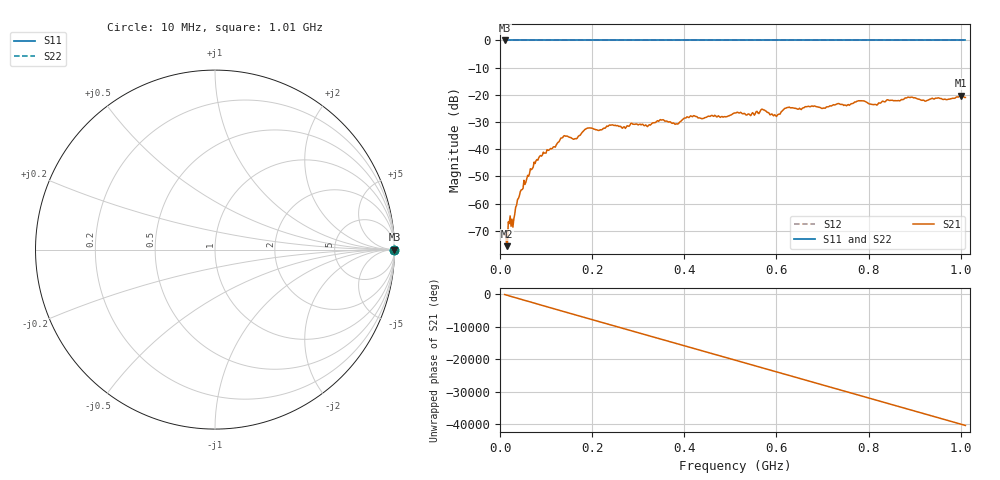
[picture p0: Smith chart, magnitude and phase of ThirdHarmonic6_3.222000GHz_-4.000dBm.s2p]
! 8/17/2025 9:50:20 AM
! C:\ANRITSUVNA\TEMP\TEMP.S2P
! CHANNEL.1
! TR.MEASUREMENT
! RAW.DATA
! RF.CORRECTION.OFF
! AVERAGING.OFF
! IF.BANDWIDTH: 5KHZ
! SWEEPTYPE:  FREQ.SWEEP(Linear)
! Reference Plane Port Info
! PORT:  PORT1  PORT2
! DISTANCE:  0  m  0  m
! TIME:  0  s  0  s
! PHASE.OFFSET:  0  deg.  0  deg.
! LOSS:  0  dB  0  dB
! REF.LOSS:  0  dB  0  dB
! REF.FREQ:  0  Hz  0  Hz
! Power Info
! POWER:  -20  dBm  -20  dBm
! EFF.POWER:  -20  dBm  -20  dBm
! SOURCE.ATTEN:  0  dB  0  dB
! TEST.ATTEN:  0  dB  0  dB
# GHZ S RI R 50.0
! FREQ.GHZ  S11RE  S11IM  S21RE  S21IM  S12RE  S12IM  S22RE  S22IM
!; PortSelection: Port_12
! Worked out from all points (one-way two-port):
!   501 points, 10 MHz to 1.01 GHz, reference 50 ohm
!   highest |S21| = -20.25 dB at 1 GHz (marker M1); lowest = -75.6 dB at 16 MHz (marker M2)
!   lowest |S11| = 0.0 dB at 10 MHz (marker M3)
!   |S11| at or under -10 dB: nowhere
!   |S22| runs from 0.0 to 0.0 dB; largest |S21 - S12| = 1.1
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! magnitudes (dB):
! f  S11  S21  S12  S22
! 10 MHz  0.0  -71.5  0.0  0.0
! 16 MHz  0.0  -75.6  0.0  0.0
! 22 MHz  0.0  -64.5  0.0  0.0
! 28 MHz  0.0  -68.6  0.0  0.0
! 48 MHz  0.0  -54.8  0.0  0.0
! 78 MHz  0.0  -44.2  0.0  0.0
! 136 MHz  0.0  -35.7  0.0  0.0
! 164 MHz  0.0  -36.1  0.0  0.0
! 178 MHz  0.0  -33.8  0.0  0.0
! 192 MHz  0.0  -32.2  0.0  0.0
! 322 MHz  0.0  -31.3  0.0  0.0
! 344 MHz  0.0  -29.7  0.0  0.0
! 384 MHz  0.0  -30.6  0.0  0.0
! 416 MHz  0.0  -27.9  0.0  0.0
! 510 MHz  0.0  -26.7  0.0  0.0
! 570 MHz  0.0  -25.3  0.0  0.0
! 598 MHz  0.0  -27.6  0.0  0.0
! 624 MHz  0.0  -24.6  0.0  0.0
! 678 MHz  0.0  -24.1  0.0  0.0
! 844 MHz  0.0  -22.0  0.0  0.0
! 1 GHz  0.0  -20.2  0.0  0.0
! 1.01 GHz  0.0  -21.0  0.0  0.0
